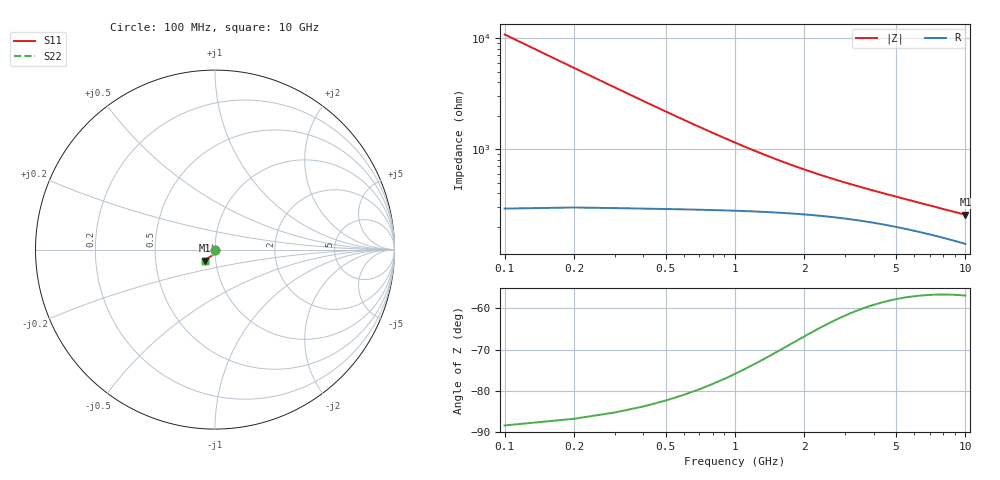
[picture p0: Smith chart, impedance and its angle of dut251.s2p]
! Touchstone file exported from HFSS 2024.1.0
!  File:  C:/UserFiles/LocalFiles/RDL_TSV_Batchsim/temp_TSV1_251_1778769071.aedt
!  Generated:  10:35:45 PM May 14, 2026
!  Design:  TSV1
!  Project:  temp_TSV1_251_1778769071
!  Setup:  Setup1
!  Solution:  Sweep
! Variables:
!  dtsv = 20.95um
!  hbump = 3um
!  htsv = 57.9um
!  lrdl = 252.1521522um
!  p = 40
!  p1 = 45.82um
!  t = 500um
!  trdl = 3um
!  wrdl = 24.89489489um
# GHz S MA R 50.000000
! Terminal data exported
! Port[1] = TSV22_T1
! Port[2] = TSV22_T2
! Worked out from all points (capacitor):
!   100 points, 100 MHz to 10 GHz, reference 50 ohm
!   read as one part in shunt: C = 147 fF near 100 MHz
!   lowest |Z| = 257 ohm at 10 GHz (marker M1)
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0.1  0.002131 -89.8  0.9999 -0.1  0.9999 -0.1  0.002131 -89.8
! Gamma 0 0 0 0
! Port Impedance 50 0 50 0
0.2  0.004267 -92.6  0.9997 -0.3  0.9997 -0.3  0.004267 -92.6
0.3  0.006391 -94.6  0.9993 -0.4  0.9993 -0.4  0.006391 -94.6
0.4  0.00849 -96.4  0.9989 -0.6  0.9989 -0.6  0.00849 -96.4
0.5  0.01055 -98.0  0.9983 -0.7  0.9983 -0.7  0.01055 -98.0
0.6  0.01258 -99.6  0.9976 -0.8  0.9976 -0.8  0.01258 -99.6
0.7  0.01455 -101.2  0.9969 -0.9  0.9969 -0.9  0.01455 -101.2
0.8  0.01647 -102.7  0.996 -1.1  0.996 -1.1  0.01647 -102.7
0.9  0.01833 -104.1  0.9952 -1.2  0.9952 -1.2  0.01833 -104.1
1.1  0.02188 -106.9  0.9933 -1.4  0.9933 -1.4  0.02188 -106.9
1.4  0.02673 -110.5  0.9903 -1.7  0.9903 -1.7  0.02673 -110.5
1.6  0.02967 -112.7  0.9883 -1.8  0.9883 -1.8  0.02967 -112.7
1.8  0.03237 -114.6  0.9863 -2.0  0.9863 -2.0  0.03237 -114.6
2.1  0.03605 -117.2  0.9834 -2.2  0.9834 -2.2  0.03605 -117.2
2.5  0.04036 -120.0  0.9798 -2.4  0.9798 -2.4  0.04036 -120.0
2.9  0.04412 -122.2  0.9765 -2.6  0.9765 -2.6  0.04412 -122.2
3.4  0.04826 -124.3  0.9729 -2.9  0.9729 -2.9  0.04826 -124.3
4.2  0.05397 -126.7  0.968 -3.2  0.968 -3.2  0.05397 -126.7
5.1  0.05952 -128.5  0.9633 -3.5  0.9633 -3.5  0.05952 -128.5
6.7  0.06797 -130.4  0.9567 -4.1  0.9567 -4.1  0.06797 -130.4
8.4  0.07567 -131.5  0.951 -4.6  0.951 -4.6  0.07567 -131.5
10  0.08212 -132.1  0.9465 -5.2  0.9465 -5.2  0.08212 -132.1
